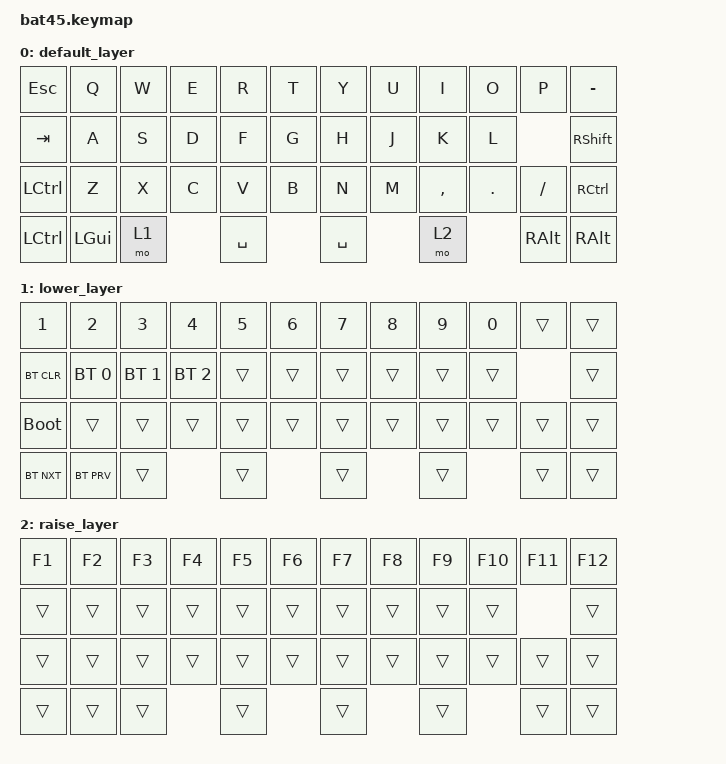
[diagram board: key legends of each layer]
/*
 * Copyright (c) 2021 The ZMK Contributors
 *
 * SPDX-License-Identifier: MIT
 * &bt BT_CLR 当电脑上删除蓝牙设备时，键盘对应设备信息未删除，导致不能使用
 * 此时切换到配对蓝牙比如&bt BT_SEL0,切换到该设备然后按下&bt BT_CLR使BT_SEL0重新配对信息才能使用
 * &bootloader 进入bl的软按键
 * &bt BT_NXT  切换下一个配对
 * &bt BT_PRV  切换上一个配对
 */

#include <behaviors.dtsi>
#include <dt-bindings/zmk/keys.h>
#include <dt-bindings/zmk/bt.h>
#include <dt-bindings/zmk/outputs.h>

#define LOWER 1
#define RAISE 2


/ {
    keymap {
        compatible = "zmk,keymap";

        default_layer {
            bindings = <
&kp ESC      &kp Q     &kp W     &kp E     &kp R     &kp T            &kp Y     &kp U     &kp I     &kp O    &kp P       &kp MINUS
&kp TAB      &kp A     &kp S     &kp D     &kp F     &kp G            &kp H     &kp J     &kp K     &kp L                &kp RSHFT
&kp LCTRL    &kp Z     &kp X     &kp C     &kp V     &kp B            &kp N     &kp M     &kp COMMA &kp DOT  &kp FSLH    &kp RCTRL
&kp LCTRL    &kp LGUI  &mo 1               &kp SPACE                  &kp SPACE           &mo 2              &kp RALT    &kp RALT
            >;
        };
        lower_layer {
            bindings = <
&kp N1       &kp N2         &kp N3         &kp N4         &kp N5    &kp N6           &kp N7    &kp N8    &kp N9    &kp N0    &trans    &trans
&bt BT_CLR   &bt BT_SEL 0   &bt BT_SEL 1   &bt BT_SEL 2   &trans    &trans           &trans    &trans    &trans    &trans              &trans
&bootloader  &trans         &trans         &trans         &trans    &trans           &trans    &trans    &trans    &trans    &trans    &trans
&bt BT_NXT   &bt BT_PRV     &trans                        &trans                     &trans              &trans               &trans    &trans
            >;
        };
        raise_layer {
            bindings = <
&kp F1       &kp F2    &kp F3    &kp F4    &kp F5    &kp F6           &kp F7    &kp F8    &kp F9    &kp F10    &kp F11    &kp F12
&trans       &trans    &trans    &trans    &trans    &trans           &trans    &trans    &trans    &trans                &trans
&trans       &trans    &trans    &trans    &trans    &trans           &trans    &trans    &trans    &trans     &trans     &trans
&trans       &trans    &trans              &trans                     &trans              &trans               &trans     &trans
            >;
        };
    };
};
